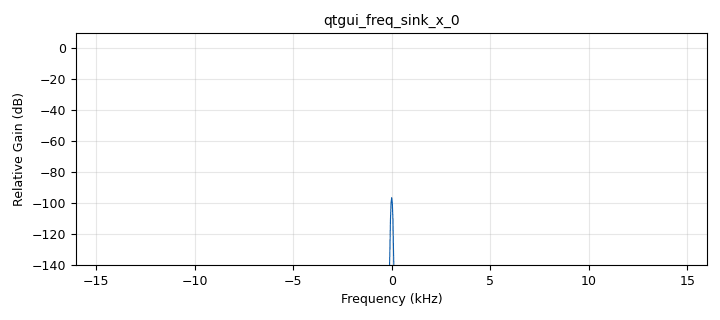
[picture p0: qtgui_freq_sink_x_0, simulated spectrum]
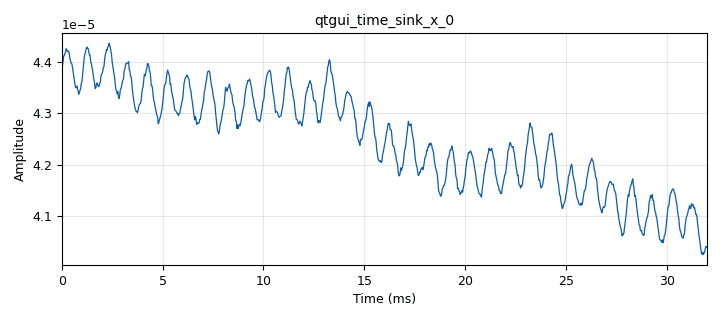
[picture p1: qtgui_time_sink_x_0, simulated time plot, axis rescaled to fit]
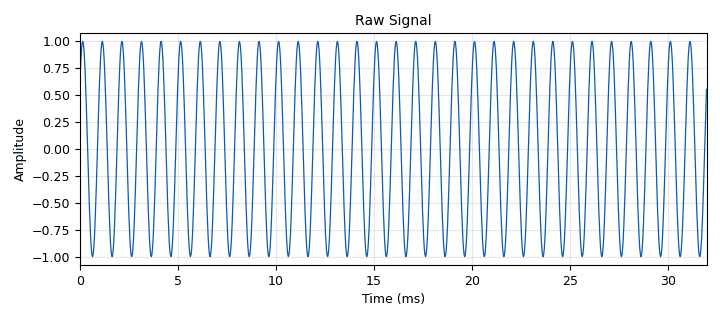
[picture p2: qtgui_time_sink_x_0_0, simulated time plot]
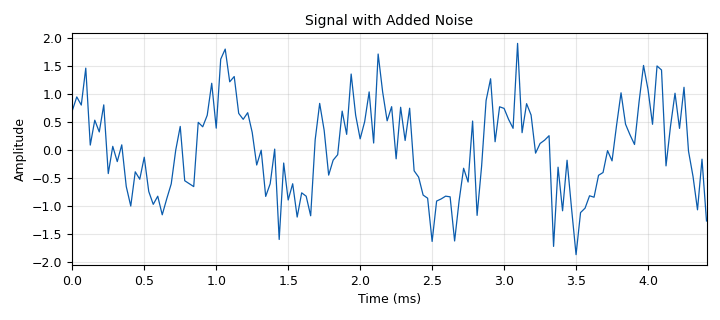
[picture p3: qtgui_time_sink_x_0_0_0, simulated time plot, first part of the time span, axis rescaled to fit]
options:
  parameters:
    generate_options: qt_gui
    id: radar_sim
    output_language: python
    title: Radar Simulation
  states: {}

blocks:
- name: Freq
  id: variable
  parameters:
    value: '1000'
  states: {}
- name: Num_Cycles
  id: variable
  parameters:
    value: '1000'
  states: {}
- name: Period
  id: variable
  parameters:
    value: 1/Freq
  states: {}
- name: SNR
  id: variable
  parameters:
    value: '2'
  states: {}
- name: Sig_Amp
  id: variable
  parameters:
    value: '1'
  states: {}
- name: Sig_Length
  id: variable
  parameters:
    value: Period*Num_Cycles
  states: {}
- name: c
  id: variable
  parameters:
    value: '300000000'
  states: {}
- name: dist
  id: variable
  parameters:
    value: '300'
  states: {}
- name: length
  id: variable
  parameters:
    value: '2'
  states: {}
- name: samp_rate
  id: variable
  parameters:
    value: '32000'
  states: {}
- name: analog_noise_source_x_0
  id: analog_noise_source_x
  parameters:
    amp: Sig_Amp/SNR
    noise_type: analog.GR_GAUSSIAN
    seed: '0'
    type: float
  states: {}
- name: analog_sig_source_x_1
  id: analog_sig_source_x
  parameters:
    amp: '1'
    freq: '1000'
    offset: '0'
    phase: '0'
    samp_rate: samp_rate
    type: float
    waveform: analog.GR_COS_WAVE
  states: {}
- name: blocks_add_xx_0
  id: blocks_add_xx
  parameters:
    type: float
  states: {}
- name: blocks_delay_0
  id: blocks_delay
  parameters:
    delay: '1'
    type: float
  states: {}
- name: blocks_head_0_0
  id: blocks_head
  parameters:
    num_items: samp_rate*length
    type: float
  states: {}
- name: qtgui_freq_sink_x_0
  id: qtgui_freq_sink_x
  parameters:
    bw: samp_rate
    fc: '0'
    fftsize: '1024'
    type: float
  states: {}
- name: qtgui_time_sink_x_0
  id: qtgui_time_sink_x
  parameters:
    size: '1024'
    srate: samp_rate
    type: float
  states: {}
- name: qtgui_time_sink_x_0_0
  id: qtgui_time_sink_x
  parameters:
    name: '"Raw Signal"'
    size: '1024'
    srate: samp_rate
    type: float
  states: {}
- name: qtgui_time_sink_x_0_0_0
  id: qtgui_time_sink_x
  parameters:
    name: '"Signal with Added Noise"'
    size: '1024'
    srate: samp_rate
    type: float
  states: {}
- name: root_raised_cosine_filter_0
  id: root_raised_cosine_filter
  parameters:
    alpha: '0.35'
    gain: '1'
    interp: '1'
    ntaps: 11*samp_rate
    samp_rate: samp_rate
    sym_rate: '1.0'
    type: interp_fir_filter_fff
  states: {}

connections:
- [analog_noise_source_x_0, '0', blocks_add_xx_0, '0']
- [analog_sig_source_x_1, '0', blocks_head_0_0, '0']
- [analog_sig_source_x_1, '0', qtgui_time_sink_x_0_0, '0']
- [blocks_add_xx_0, '0', qtgui_time_sink_x_0_0_0, '0']
- [blocks_add_xx_0, '0', root_raised_cosine_filter_0, '0']
- [blocks_delay_0, '0', blocks_add_xx_0, '1']
- [blocks_head_0_0, '0', blocks_delay_0, '0']
- [root_raised_cosine_filter_0, '0', qtgui_freq_sink_x_0, '0']
- [root_raised_cosine_filter_0, '0', qtgui_time_sink_x_0, '0']

metadata:
  file_format: 1
  grc_version: 3.10.12.0
